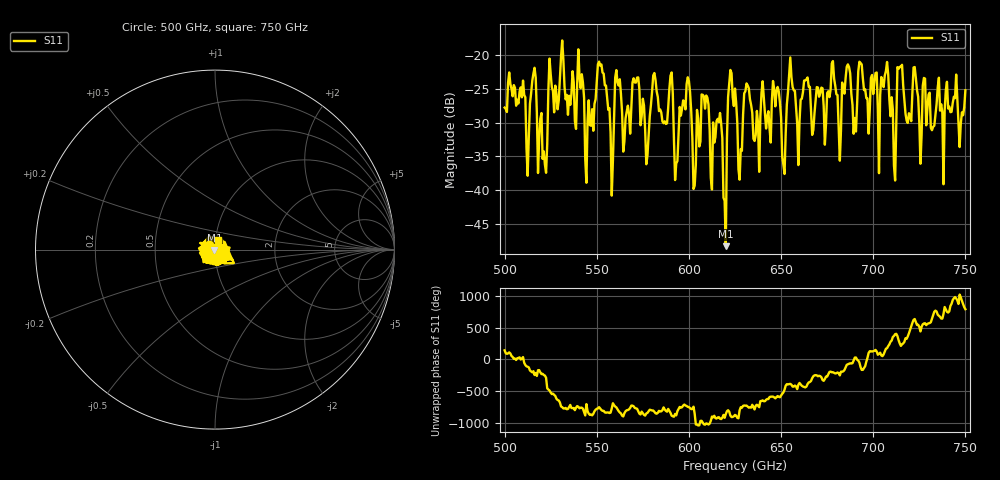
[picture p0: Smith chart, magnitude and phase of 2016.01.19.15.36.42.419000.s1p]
!Created with skrf (http://scikit-rf.org).
# GHz S RI R 50.0
!freq ReS11 ImS11
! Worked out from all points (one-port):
!   401 points, 500 GHz to 750 GHz, reference 50 ohm
!   lowest |S11| = -48.4 dB at 620 GHz (marker M1), VSWR 1.01, Z = 49.7 - j0.216 ohm
!   |S11| at or under -10 dB: start of sweep to end of sweep
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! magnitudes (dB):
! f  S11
! 500 GHz  -27.8
! 513.1 GHz  -32.1
! 515.6 GHz  -22.7
! 521.9 GHz  -36.3
! 525 GHz  -22.8
! 531.2 GHz  -17.8
! 545 GHz  -29.8
! 551.9 GHz  -21.5
! 558.1 GHz  -40.8
! 562.5 GHz  -23.6
! 577.5 GHz  -34.9
! 590 GHz  -23.0
! 593.8 GHz  -35.7
! 600 GHz  -23.8
! 602.5 GHz  -39.9
! 608.8 GHz  -27.9
! 620 GHz  -48.4
! 621.9 GHz  -24.1
! 625 GHz  -24.9
! 627.5 GHz  -38.5
! 631.2 GHz  -24.2
! 636.9 GHz  -28.3
! 646.9 GHz  -27.6
! 651.2 GHz  -36.2
! 656.2 GHz  -24.7
! 687.5 GHz  -22.7
! 718.8 GHz  -30.0
! 750 GHz  -25.2
